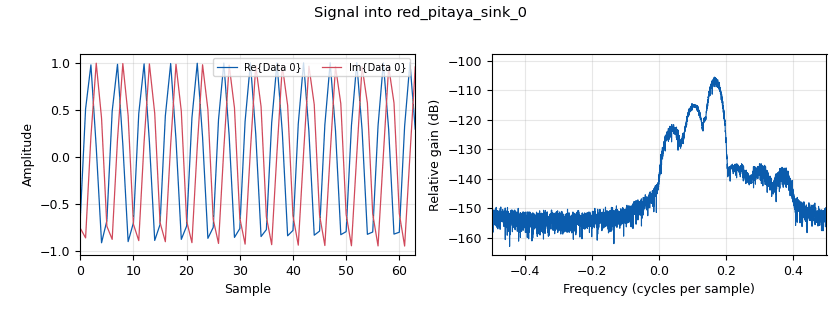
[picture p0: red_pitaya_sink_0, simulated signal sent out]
<?xml version='1.0' encoding='utf-8'?>
<?grc format='1' created='3.7.9'?>
<flow_graph>
<block>
<key>options</key>
<param><key>id</key><value>top_block</value></param>
<param><key>category</key><value>Custom</value></param>
<param><key>generate_options</key><value>no_gui</value></param>
<param><key>run_options</key><value>run</value></param>
</block>
<block>
<key>variable</key>
<param><key>id</key><value>bm</value></param>
<param><key>comment</key><value>Chirp Bandwidth [Hz]</value></param>
<param><key>value</key><value>500e3</value></param>
</block>
<block>
<key>variable</key>
<param><key>id</key><value>fc</value></param>
<param><key>comment</key><value>Start Frequency [Hz]</value></param>
<param><key>value</key><value>48.75e6</value></param>
</block>
<block>
<key>variable</key>
<param><key>id</key><value>ipaddr</value></param>
<param><key>value</key><value>'rp-f0402f.local'</value></param>
</block>
<block>
<key>variable</key>
<param><key>id</key><value>samp_rate</value></param>
<param><key>value</key><value>1250000</value></param>
</block>
<block>
<key>analog_sig_source_x</key>
<param><key>id</key><value>analog_sig_source_x_0</value></param>
<param><key>amp</key><value>1</value></param>
<param><key>freq</key><value>50</value></param>
<param><key>offset</key><value>0</value></param>
<param><key>type</key><value>float</value></param>
<param><key>samp_rate</key><value>samp_rate</value></param>
<param><key>waveform</key><value>analog.GR_SAW_WAVE</value></param>
</block>
<block>
<key>blocks_file_sink</key>
<param><key>id</key><value>blocks_file_sink_0</value></param>
<param><key>file</key><value>out.bin</value></param>
<param><key>type</key><value>complex</value></param>
</block>
<block>
<key>blocks_multiply_conjugate_cc</key>
<param><key>id</key><value>blocks_multiply_conjugate_cc_0</value></param>
</block>
<block>
<key>blocks_vco_c</key>
<param><key>id</key><value>blocks_vco_c_0</value></param>
<param><key>amplitude</key><value>1</value></param>
<param><key>samp_rate</key><value>samp_rate</value></param>
<param><key>sensitivity</key><value>bm*(2*3.1416)</value></param>
</block>
<block>
<key>qtgui_freq_sink_x</key>
<param><key>id</key><value>qtgui_freq_sink_x_0</value></param>
<param><key>bw</key><value>samp_rate</value></param>
<param><key>fc</key><value>0</value></param>
<param><key>ctrlpanel</key><value>True</value></param>
<param><key>_enabled</key><value>0</value></param>
<param><key>fftsize</key><value>4096</value></param>
<param><key>name</key><value>Receive Spectrum</value></param>
<param><key>showports</key><value>True</value></param>
<param><key>type</key><value>complex</value></param>
<param><key>wintype</key><value>firdes.WIN_BLACKMAN_hARRIS</value></param>
<param><key>ymax</key><value>0</value></param>
<param><key>ymin</key><value>-60</value></param>
</block>
<block>
<key>qtgui_freq_sink_x</key>
<param><key>id</key><value>qtgui_freq_sink_x_0_0</value></param>
<param><key>bw</key><value>samp_rate</value></param>
<param><key>fc</key><value>0</value></param>
<param><key>ctrlpanel</key><value>True</value></param>
<param><key>_enabled</key><value>0</value></param>
<param><key>fftsize</key><value>4096</value></param>
<param><key>grid</key><value>True</value></param>
<param><key>name</key><value>Transmit Spectrum</value></param>
<param><key>showports</key><value>True</value></param>
<param><key>tr_level</key><value>-40</value></param>
<param><key>tr_mode</key><value>qtgui.TRIG_MODE_AUTO</value></param>
<param><key>type</key><value>complex</value></param>
<param><key>wintype</key><value>firdes.WIN_BLACKMAN_hARRIS</value></param>
<param><key>ymax</key><value>0</value></param>
<param><key>ymin</key><value>-60</value></param>
</block>
<block>
<key>qtgui_time_sink_x</key>
<param><key>id</key><value>qtgui_time_sink_x_0</value></param>
<param><key>autoscale</key><value>True</value></param>
<param><key>ctrlpanel</key><value>True</value></param>
<param><key>_enabled</key><value>0</value></param>
<param><key>grid</key><value>True</value></param>
<param><key>color1</key><value>"blue"</value></param>
<param><key>label1</key><value></value></param>
<param><key>color2</key><value>"red"</value></param>
<param><key>label2</key><value></value></param>
<param><key>name</key><value>Transmit RF</value></param>
<param><key>size</key><value>40960</value></param>
<param><key>srate</key><value>samp_rate</value></param>
<param><key>tr_mode</key><value>qtgui.TRIG_MODE_AUTO</value></param>
<param><key>type</key><value>complex</value></param>
</block>
<block>
<key>qtgui_time_sink_x</key>
<param><key>id</key><value>qtgui_time_sink_x_0_0</value></param>
<param><key>autoscale</key><value>True</value></param>
<param><key>ctrlpanel</key><value>True</value></param>
<param><key>_enabled</key><value>0</value></param>
<param><key>grid</key><value>True</value></param>
<param><key>color1</key><value>"blue"</value></param>
<param><key>label1</key><value></value></param>
<param><key>color2</key><value>"red"</value></param>
<param><key>label2</key><value></value></param>
<param><key>name</key><value>Receive baseband</value></param>
<param><key>size</key><value>40960</value></param>
<param><key>srate</key><value>samp_rate</value></param>
<param><key>tr_level</key><value>0.5</value></param>
<param><key>tr_mode</key><value>qtgui.TRIG_MODE_AUTO</value></param>
<param><key>type</key><value>complex</value></param>
</block>
<block>
<key>qtgui_time_sink_x</key>
<param><key>id</key><value>qtgui_time_sink_x_0_1</value></param>
<param><key>autoscale</key><value>True</value></param>
<param><key>ctrlpanel</key><value>True</value></param>
<param><key>_enabled</key><value>0</value></param>
<param><key>grid</key><value>True</value></param>
<param><key>color1</key><value>"blue"</value></param>
<param><key>label1</key><value></value></param>
<param><key>name</key><value>Ramp to VCO</value></param>
<param><key>size</key><value>40960</value></param>
<param><key>srate</key><value>samp_rate</value></param>
<param><key>tr_mode</key><value>qtgui.TRIG_MODE_AUTO</value></param>
<param><key>type</key><value>float</value></param>
</block>
<block>
<key>red_pitaya_sink</key>
<param><key>id</key><value>red_pitaya_sink_0</value></param>
<param><key>addr</key><value>ipaddr</value></param>
<param><key>freq</key><value>fc</value></param>
<param><key>corr</key><value>0</value></param>
<param><key>ptt</key><value>True</value></param>
<param><key>port</key><value>1001</value></param>
<param><key>rate</key><value>samp_rate</value></param>
</block>
<block>
<key>red_pitaya_source</key>
<param><key>id</key><value>red_pitaya_source_0</value></param>
<param><key>addr</key><value>ipaddr</value></param>
<param><key>freq</key><value>fc</value></param>
<param><key>corr</key><value>0</value></param>
<param><key>port</key><value>1001</value></param>
<param><key>rate</key><value>samp_rate</value></param>
</block>
<connection><source_block_id>analog_sig_source_x_0</source_block_id><sink_block_id>blocks_vco_c_0</sink_block_id><source_key>0</source_key><sink_key>0</sink_key></connection>
<connection><source_block_id>analog_sig_source_x_0</source_block_id><sink_block_id>qtgui_time_sink_x_0_1</sink_block_id><source_key>0</source_key><sink_key>0</sink_key></connection>
<connection><source_block_id>blocks_multiply_conjugate_cc_0</source_block_id><sink_block_id>blocks_file_sink_0</sink_block_id><source_key>0</source_key><sink_key>0</sink_key></connection>
<connection><source_block_id>blocks_multiply_conjugate_cc_0</source_block_id><sink_block_id>qtgui_freq_sink_x_0</sink_block_id><source_key>0</source_key><sink_key>0</sink_key></connection>
<connection><source_block_id>blocks_multiply_conjugate_cc_0</source_block_id><sink_block_id>qtgui_time_sink_x_0_0</sink_block_id><source_key>0</source_key><sink_key>0</sink_key></connection>
<connection><source_block_id>blocks_vco_c_0</source_block_id><sink_block_id>blocks_multiply_conjugate_cc_0</sink_block_id><source_key>0</source_key><sink_key>1</sink_key></connection>
<connection><source_block_id>blocks_vco_c_0</source_block_id><sink_block_id>qtgui_freq_sink_x_0_0</sink_block_id><source_key>0</source_key><sink_key>0</sink_key></connection>
<connection><source_block_id>blocks_vco_c_0</source_block_id><sink_block_id>qtgui_time_sink_x_0</sink_block_id><source_key>0</source_key><sink_key>0</sink_key></connection>
<connection><source_block_id>blocks_vco_c_0</source_block_id><sink_block_id>red_pitaya_sink_0</sink_block_id><source_key>0</source_key><sink_key>0</sink_key></connection>
<connection><source_block_id>red_pitaya_source_0</source_block_id><sink_block_id>blocks_multiply_conjugate_cc_0</sink_block_id><source_key>0</source_key><sink_key>0</sink_key></connection>
</flow_graph>
